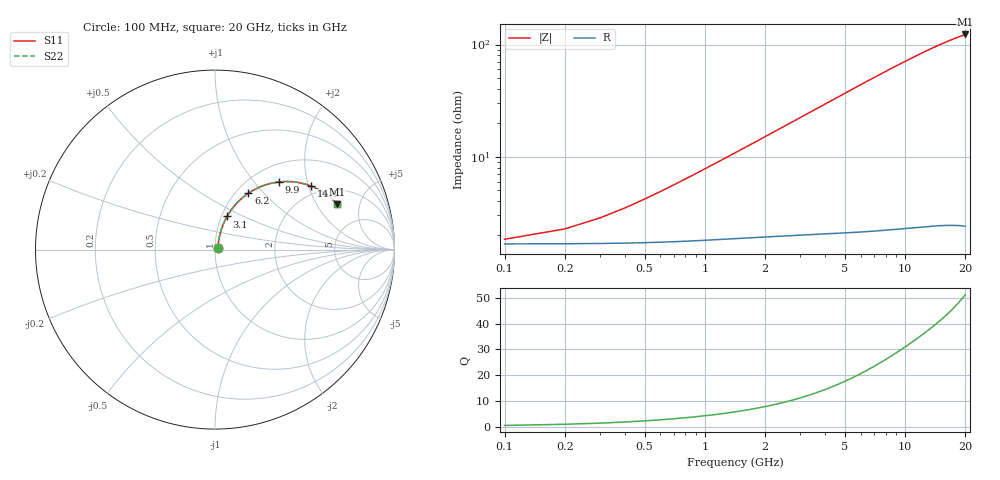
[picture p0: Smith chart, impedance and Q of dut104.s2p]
! Touchstone file exported from HFSS 2026.1.0
!  File:  C:/ffzhzh/LocalFiles/Ansys_Project_Files/temp_train_BSMRDL_104_1782985753_41620.aedt
!  Generated:  05:50:40 PM Jul  2, 2026
!  Design:  BSMRDL
!  Project:  temp_train_BSMRDL_104_1782985753_41620
! Variables:
!  h_bsmrdl = 2.04um
!  h_ox = 20um
!  h_rdl = 5um
!  h_sub = 80um
!  h_tmrdl = 5um
!  h_tsv = 80um
!  h_via = 3um
!  l_bsmrdl = 977um
!  l_sub = 1377um
!  l_tmrdl = 200um
!  m_sub = 200um
!  pitch = 59.37um
!  r_tsv = 6um
!  s_tmrdl = 10um
!  w_bsmrdl = 10.08um
!  w_sub = 500um
!  w_tmrdl = 12um
!  x_tsv_center1 = 206um
!  x_tsv_center2 = 1193.08um
!  x_tsv_center3 = 1405.08um
!  x_tsv_center4 = 2392.16um
!  x_tsv_center5 = 2604.16um
!  x_tsv_center6 = 3591.24um
# GHz S MA R 50.000000
! Terminal data exported
! Port[1] = BSM_RDL1_1_T1
! Port[2] = BSM_RDL1_1_T2
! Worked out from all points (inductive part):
!   200 points, 100 MHz to 20 GHz, reference 50 ohm
!   read as one part in series: L = 1.21 nH near 700 MHz
!   highest Q = 51.2 at 20 GHz (marker M1), where L = 978 pH
!   S11 on the Smith chart (normalised r, x): 100 MHz: 1.03, +0.01; 3.1 GHz: 1.06, +0.41; 6.2 GHz: 1.14, +0.82; 9.9 GHz: 1.31, +1.35; 14.4 GHz: 1.72, +2.07; 20 GHz: 2.83, +3.04
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0.1  0.01772 21.7  0.9836 -0.5  0.9836 -0.5  0.01772 21.7
! Gamma 0 0 0 0
! Port Impedance 50 0 50 0
0.4  0.03146 56.1  0.983 -1.9  0.983 -1.9  0.03146 56.1
0.6  0.04332 64.1  0.9822 -2.9  0.9822 -2.9  0.04332 64.1
0.7  0.04945 66.4  0.9818 -3.4  0.9818 -3.4  0.04945 66.4
0.9  0.06185 69.3  0.9808 -4.3  0.9808 -4.3  0.06185 69.3
1.2  0.08055 71.5  0.979 -5.7  0.979 -5.7  0.08055 71.5
1.6  0.1054 72.4  0.9762 -7.5  0.9762 -7.5  0.1054 72.4
2  0.13 72.3  0.973 -9.4  0.973 -9.4  0.13 72.3
2.5  0.1605 71.5  0.9682 -11.7  0.9682 -11.7  0.1605 71.5
3.1  0.1964 70.0  0.9615 -14.4  0.9615 -14.4  0.1964 70.0
3.5  0.2198 68.8  0.9564 -16.1  0.9564 -16.1  0.2198 68.8
4.7  0.2872 64.8  0.9385 -21.3  0.9385 -21.3  0.2872 64.8
6.2  0.3645 59.4  0.9118 -27.5  0.9118 -27.5  0.3645 59.4
6.8  0.393 57.2  0.9002 -29.9  0.9002 -29.9  0.393 57.2
8.3  0.4581 52.0  0.8696 -35.6  0.8696 -35.6  0.4581 52.0
9.9  0.518 46.7  0.8362 -41.2  0.8362 -41.2  0.518 46.7
10.1  0.5248 46.0  0.8321 -41.9  0.8321 -41.9  0.5248 46.0
11.7  0.5745 41.1  0.7996 -47.0  0.7996 -47.0  0.5745 41.1
13.4  0.6186 36.3  0.767 -52.0  0.767 -52.0  0.6186 36.3
14.4  0.6408 33.6  0.7492 -54.8  0.7492 -54.8  0.6407 33.6
16.7  0.6829 27.9  0.7124 -60.6  0.7124 -60.6  0.6829 27.9
20  0.7259 20.5  0.6703 -68.2  0.6703 -68.2  0.7259 20.6
